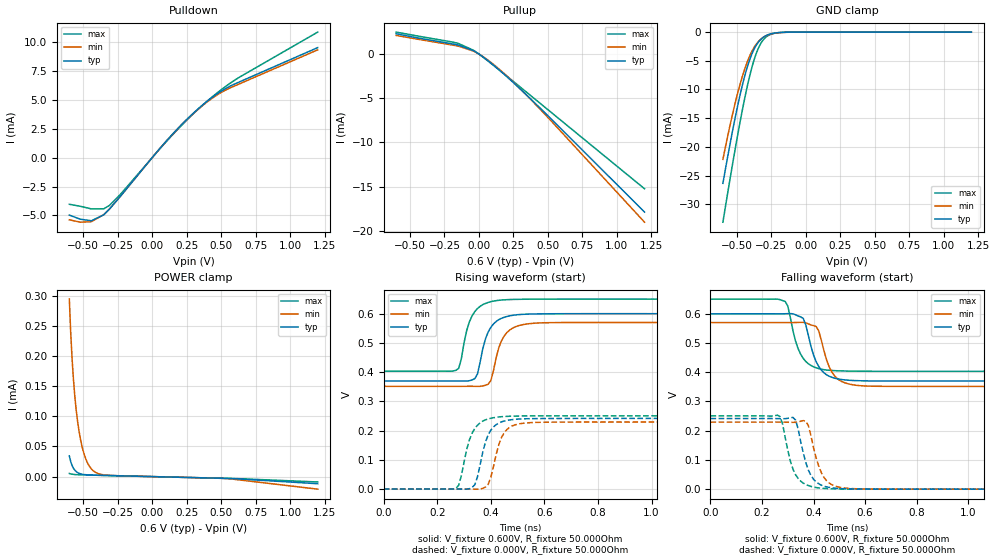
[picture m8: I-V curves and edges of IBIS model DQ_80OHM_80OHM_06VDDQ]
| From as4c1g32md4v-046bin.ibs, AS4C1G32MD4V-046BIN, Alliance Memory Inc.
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|   MODEL: DQ_80OHM_80OHM_06VDDQ
[Model]   DQ_80OHM_80OHM_06VDDQ
Model_type   I/O
Polarity   Non-Inverting
Enable   Active-High
Vinl   = 0.080V
Vinh   = 0.220V
Vmeas   = 0.150V
Vref   = 0.150V
Cref   = 0.000pF
Rref   = 50.000Ohm
|   typ   min   max
C_comp   0.875pF   0.788pF   0.963pF
[Voltage Range]   0.600V   0.570V   0.650V
[Temperature Range]   25.0   95.0   -40.0
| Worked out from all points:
|   slope of the pulldown table from 0 to 0.09 V, typ, clamps not added: 71.2 ohm
|   slope of the pullup table from 0 to 0.09 V, typ, clamps not added: 85.1 ohm
|   GND clamp passes 1 mA (typ) near -0.31 V on its own axis
|   rising waveform, V_fixture 0.600V, R_fixture 50.000Ohm: 20-80 % time 44.9ps typ, 45.1ps min, 44.4ps max; typ from 0.37 V to 0.6 V
|   falling waveform, V_fixture 0.600V, R_fixture 50.000Ohm: 20-80 % time 51ps typ, 50.6ps min, 49.8ps max; typ from 0.6 V to 0.37 V
|   rising waveform, V_fixture 0.000V, R_fixture 50.000Ohm: 20-80 % time 43.3ps typ, 42.7ps min, 44.9ps max; typ from 0 V to 0.242 V
|   falling waveform, V_fixture 0.000V, R_fixture 50.000Ohm: 20-80 % time 46.1ps typ, 47.1ps min, 45ps max; typ from 0.242 V to 0 V
[Pulldown]
|   Voltage   I(typ)   I(min)   I(max)
-600mV    -4.969mA   -5.373mA   -4.029mA
-520mV    -5.322mA   -5.579mA   -4.203mA
-440mV    -5.456mA   -5.535mA   -4.431mA
-350mV    -4.934mA   -4.919mA   -4.417mA
-310mV    -4.458mA   -4.447mA   -4.135mA
-230mV    -3.338mA   -3.338mA   -3.174mA
130mV     1.8mA      1.791mA    1.748mA
270mV     3.53mA     3.504mA    3.472mA
400mV     4.896mA    4.836mA    4.903mA
490mV     5.671mA    5.569mA    5.785mA
580mV     6.277mA    6.116mA    6.562mA
1.2V      9.525mA    9.333mA    10.87mA
[Pullup]
|   Voltage   I(typ)   I(min)   I(max)
-600mV    2.295mA    2.104mA    2.481mA
-150mV    1.015mA    894.4uA    1.202mA
-40mV     380.4uA    335.1uA    430.4uA
70mV      -807.4uA   -742.4uA   -846.5uA
210mV     -2.672mA   -2.598mA   -2.601mA
400mV     -5.461mA   -5.538mA   -5.023mA
1.2V      -17.89mA   -19.03mA   -15.25mA
[GND Clamp]
|   Voltage   I(typ)   I(min)   I(max)
-600mV    -26.36mA   -22.19mA   -33.14mA
-550mV    -19.73mA   -16.43mA   -25.84mA
-510mV    -14.79mA   -12.27mA   -20.24mA
-470mV    -10.36mA   -8.615mA   -14.96mA
-430mV    -6.627mA   -5.609mA   -10.17mA
-390mV    -3.805mA   -3.349mA   -6.151mA
-360mV    -2.341mA   -2.151mA   -3.819mA
-320mV    -1.14mA    -1.122mA   -1.755mA
-280mV    -524.1uA   -555.5uA   -715.7uA
-230mV    -184.4uA   -215.6uA   -213.3uA
-140mV    -20.29uA   -29.99uA   -17.96uA
1.2V      6.836uA    7.386uA    6.714uA
[POWER Clamp]
|   Voltage   I(typ)   I(min)   I(max)
-600mV    34.27uA    294.1uA    5.169uA
-590mV    25uA       238.9uA    4.47uA
-570mV    13.84uA    160.6uA    3.674uA
-560mV    10.58uA    132.6uA    3.444uA
-540mV    6.655uA    91.24uA    3.146uA
-520mV    4.678uA    62.84uA    2.957uA
-490mV    3.339uA    35.2uA     2.748uA
-460mV    2.772uA    19.1uA     2.569uA
-420mV    2.39uA     8.47uA     2.342uA
-300mV    1.671uA    1.938uA    1.671uA
560mV     -3.13uA    -3.595uA   -3.086uA
1.2V      -11.8uA    -20.82uA   -8.926uA
[Ramp]
R_load = 50.000Ohm
|   typ   min   max
dV/dt_r   0.138V/50.000ps   0.131V/50.000ps   0.148V/40.000ps
dV/dt_f   0.138V/50.000ps   0.131V/50.000ps   0.148V/50.000ps
|Slew_r   2.762V/ns   2.623V/ns   3.702V/ns
|Slew_f   2.759V/ns   2.621V/ns   2.959V/ns
[Rising Waveform]
V_fixture = 0.600V
V_fixture_min = 0.570V
V_fixture_max = 0.650V
R_fixture = 50.000Ohm
L_fixture = 0.000nH
C_fixture = 0.000pF
|dV/dt_r   0.138V/50.000ps   0.131V/50.000ps   0.148V/40.000ps
|Slew_r   2.762V/ns   2.623V/ns   3.702V/ns
|   Time   V(typ)   V(min)   V(max)
0s        369.9mV    351.4mV    403.2mV
270ps     370mV      351.5mV    406.4mV
280ps     370.1mV    351.5mV    413.1mV
320ps     370.6mV    351.6mV    572.4mV
340ps     377.9mV    351.5mV    607.1mV
400ps     553.6mV    371.5mV    641.2mV
430ps     579.7mV    484.5mV    645.9mV
460ps     590.5mV    535.7mV    647.9mV
670ps     599.9mV    569.8mV    650mV
5ns       600mV      570mV      650mV
[Falling Waveform]
V_fixture = 0.600V
V_fixture_min = 0.570V
V_fixture_max = 0.650V
R_fixture = 50.000Ohm
L_fixture = 0.000nH
C_fixture = 0.000pF
|dV/dt_f   0.138V/50.000ps   0.131V/50.000ps   0.148V/50.000ps
|Slew_f   2.759V/ns   2.621V/ns   2.959V/ns
|   Time   V(typ)   V(min)   V(max)
0s        599.9mV    569.9mV    649.9mV
290ps     600.1mV    569.9mV    642.1mV
350ps     589.5mV    570.7mV    461.3mV
370ps     561.1mV    568.8mV    436.5mV
410ps     436.1mV    556.4mV    415mV
450ps     391.4mV    443.2mV    407.6mV
480ps     380.1mV    389.1mV    405.5mV
530ps     373mV      361.4mV    404.1mV
650ps     370.1mV    352mV      403.3mV
5ns       369.9mV    351.5mV    403.3mV
[Rising Waveform]
V_fixture = 0.000V
V_fixture_min = 0.000V
V_fixture_max = 0.000V
R_fixture = 50.000Ohm
L_fixture = 0.000nH
C_fixture = 0.000pF
|dV/dt_r   0.145V/40.000ps   0.138V/40.000ps   0.150V/40.000ps
|Slew_r   3.625V/ns   3.439V/ns   3.760V/ns
|   Time   V(typ)   V(min)   V(max)
0s        5.555uV    16.44uV    2.366uV
270ps     61.52uV    16.59uV    3.193mV
280ps     21.54uV    19.39uV    13.06mV
330ps     5.748mV    -118.3uV   191.2mV
350ps     41.61mV    -280.7uV   218.4mV
390ps     185.2mV    16mV       240.1mV
430ps     226.2mV    153.1mV    246.8mV
460ps     234.8mV    203.8mV    248.8mV
630ps     241.5mV    229mV      250.6mV
5ns       241.6mV    229.3mV    250.6mV
[Falling Waveform]
V_fixture = 0.000V
V_fixture_min = 0.000V
V_fixture_max = 0.000V
R_fixture = 50.000Ohm
L_fixture = 0.000nH
C_fixture = 0.000pF
|dV/dt_f   0.145V/40.000ps   0.138V/50.000ps   0.150V/40.000ps
|Slew_f   3.624V/ns   2.751V/ns   3.759V/ns
|   Time   V(typ)   V(min)   V(max)
0s        241.6mV    229.3mV    250.6mV
270ps     241.2mV    229.4mV    248.1mV
320ps     245.4mV    228.6mV    68.47mV
340ps     206.3mV    230.2mV    36.59mV
370ps     90.62mV    232.4mV    15.78mV
390ps     46.52mV    181.8mV    9.37mV
420ps     18.29mV    78.99mV    4.307mV
450ps     7.833mV    29.13mV    1.995mV
620ps     207.9uV    419.6uV    125.6uV
5ns       6.099uV    16.92uV    2.906uV
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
